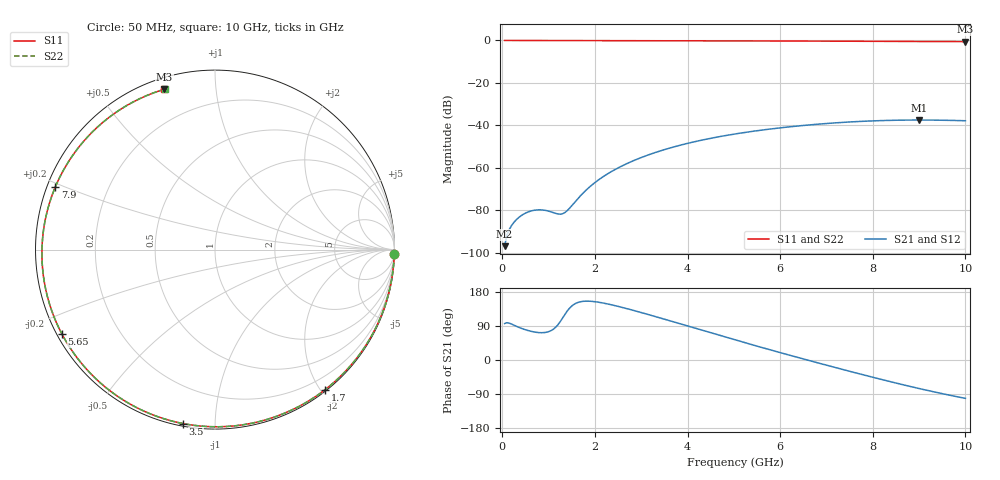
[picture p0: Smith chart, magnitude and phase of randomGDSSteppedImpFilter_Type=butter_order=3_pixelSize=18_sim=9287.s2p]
! freq	dB(S11)	phase(S11)	dB(S12)	phase(S12)
!  dB(S21)	phase(S21)	dB(S22)	phase(S22)
!S-par simulation data
#  GHz  S  DB  R 50
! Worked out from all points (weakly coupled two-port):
!   200 points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, 50 MHz to 10 GHz, reference 50 ohm
!   highest |S21| = -37.44 dB at 9 GHz (marker M1); lowest = -96.8 dB at 50 MHz (marker M2)
!   lowest |S11| = -0.6 dB at 10 GHz (marker M3), VSWR 30.59, Z = 2.51 + j36.6 ohm
!   |S11| at or under -10 dB: nowhere
!   |S22| runs from -0.6 to 0.0 dB; largest |S21 - S12| = 0
!   S11 on the Smith chart (normalised r, x): 50 MHz: 1, -75; 1.7 GHz: 0.02, -2.06; 3.5 GHz: 0.01, -0.83; 5.65 GHz: 0.01, -0.26; 7.9 GHz: 0.02, +0.19; 10 GHz: 0.05, +0.73
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0.05  -0.00 -1.5  -96.79 96.3  -96.79 96.3  -0.00 -1.5
0.4  -0.02 -12.5  -82.55 84.1  -82.55 84.1  -0.02 -12.5
0.7  -0.03 -21.8  -79.85 73.7  -79.85 73.7  -0.03 -21.8
1.4  -0.05 -42.9  -80.11 129.0  -80.11 129.0  -0.05 -42.9
1.7  -0.06 -51.8  -72.80 154.0  -72.80 154.0  -0.06 -51.8
1.75  -0.07 -53.2  -71.68 154.8  -71.68 154.8  -0.07 -53.2
2.05  -0.08 -61.8  -66.05 153.1  -66.05 153.1  -0.08 -61.8
2.45  -0.09 -72.9  -60.56 143.0  -60.56 143.0  -0.09 -73.0
2.9  -0.11 -85.1  -55.96 128.6  -55.96 128.6  -0.11 -85.1
3.4  -0.12 -98.0  -52.04 111.3  -52.04 111.3  -0.12 -98.0
3.5  -0.13 -100.5  -51.37 107.8  -51.37 107.8  -0.13 -100.5
4.25  -0.16 -118.9  -47.17 80.8  -47.17 80.8  -0.16 -118.9
5.05  -0.19 -137.5  -43.91 52.3  -43.91 52.3  -0.19 -137.5
5.65  -0.23 -151.1  -42.04 31.4  -42.04 31.4  -0.23 -151.1
6.2  -0.26 -163.3  -40.65 12.8  -40.65 12.8  -0.26 -163.3
6.7  -0.30 -174.4  -39.61 -3.8  -39.61 -3.8  -0.30 -174.4
7.3  -0.34 172.2  -38.62 -23.4  -38.62 -23.4  -0.34 172.2
7.9  -0.39 158.6  -37.93 -42.4  -37.93 -42.4  -0.39 158.6
8.35  -0.43 148.2  -37.61 -56.3  -37.61 -56.3  -0.43 148.2
9  -0.49 132.7  -37.44 -75.3  -37.44 -75.3  -0.49 132.6
9.5  -0.53 120.3  -37.53 -88.8  -37.53 -88.8  -0.53 120.3
10  -0.57 107.5  -37.78 -101.2  -37.78 -101.2  -0.57 107.5
